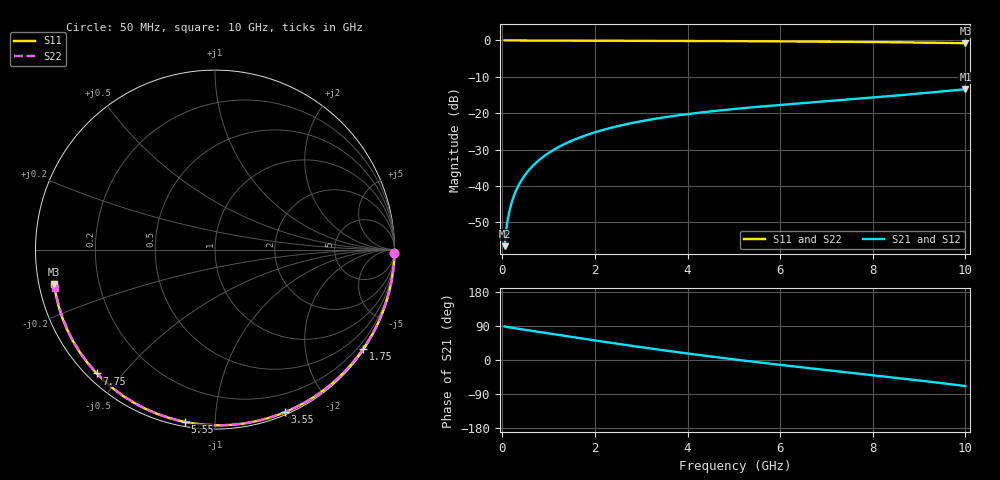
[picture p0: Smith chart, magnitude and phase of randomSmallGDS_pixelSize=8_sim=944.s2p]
! freq	dB(S11)	phase(S11)	dB(S12)	phase(S12)
!  dB(S21)	phase(S21)	dB(S22)	phase(S22)
!S-par simulation data
#  GHz  S  DB  R 50
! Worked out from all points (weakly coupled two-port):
!   200 points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, 50 MHz to 10 GHz, reference 50 ohm
!   highest |S21| = -13.41 dB at 10 GHz (marker M1); lowest = -56.6 dB at 50 MHz (marker M2)
!   lowest |S11| = -0.8 dB at 10 GHz (marker M3), VSWR 22.96, Z = 2.2 - j5.25 ohm
!   |S11| at or under -10 dB: nowhere
!   |S22| runs from -0.8 to 0.0 dB; largest |S21 - S12| = 0
!   S11 on the Smith chart (normalised r, x): 50 MHz: open; 1.75 GHz: 0.04, -3.27; 3.55 GHz: 0.02, -1.52; 5.55 GHz: 0.02, -0.84; 7.75 GHz: 0.03, -0.43; 10 GHz: 0.04, -0.11
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0.05  -0.00 -1.0  -56.58 88.5  -56.58 88.5  -0.00 -1.0
0.1  -0.00 -2.0  -50.61 87.2  -50.61 87.2  -0.00 -1.9
0.15  -0.00 -3.0  -47.14 86.1  -47.14 86.1  -0.00 -2.9
0.2  -0.00 -4.0  -44.69 85.1  -44.69 85.1  -0.00 -3.9
0.25  -0.00 -5.0  -42.78 84.1  -42.78 84.1  -0.00 -4.8
0.35  -0.01 -6.9  -39.91 82.3  -39.91 82.3  -0.01 -6.8
0.5  -0.01 -9.9  -36.86 79.6  -36.86 79.6  -0.01 -9.7
0.7  -0.02 -13.8  -33.98 75.9  -33.98 75.9  -0.02 -13.5
1  -0.03 -19.6  -30.95 70.2  -30.95 70.2  -0.03 -19.2
1.35  -0.04 -26.4  -28.44 63.6  -28.44 63.6  -0.04 -25.8
1.75  -0.05 -34.0  -26.32 56.2  -26.32 56.2  -0.05 -33.3
2.6  -0.08 -49.8  -23.25 40.8  -23.25 40.8  -0.08 -48.8
3.4  -0.12 -64.2  -21.34 27.0  -21.34 27.0  -0.11 -62.8
3.55  -0.12 -66.8  -21.04 24.5  -21.04 24.5  -0.12 -65.4
4.3  -0.15 -79.6  -19.79 12.4  -19.79 12.4  -0.15 -78.1
5.05  -0.19 -92.0  -18.80 0.9  -18.80 0.9  -0.19 -90.3
5.55  -0.22 -100.0  -18.22 -6.4  -18.22 -6.4  -0.22 -98.2
6.7  -0.31 -117.8  -17.03 -22.5  -17.03 -22.5  -0.31 -115.9
7.75  -0.41 -133.7  -15.96 -36.7  -15.96 -36.7  -0.41 -131.7
8.35  -0.48 -142.7  -15.32 -44.9  -15.32 -44.9  -0.48 -140.7
9.2  -0.61 -155.5  -14.37 -56.8  -14.37 -56.8  -0.61 -153.7
10  -0.76 -168.0  -13.41 -68.7  -13.41 -68.7  -0.76 -166.3
